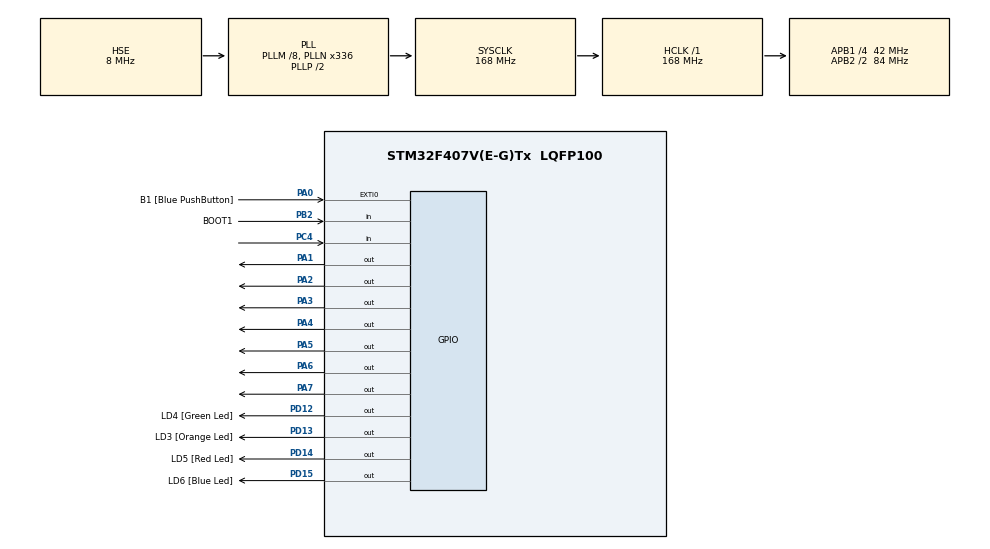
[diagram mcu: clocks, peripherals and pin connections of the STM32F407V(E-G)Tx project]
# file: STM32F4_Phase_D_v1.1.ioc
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Mcu.Family=STM32F4
Mcu.Name=STM32F407V(E-G)Tx
Mcu.Package=LQFP100
NVIC.PriorityGroup=NVIC_PRIORITYGROUP_0
NVIC.TIM6_DAC_IRQn=true\:0\:0\:false\:false\:true\:true\:true\:true
PA0-WKUP.GPIO_Label=B1 [Blue PushButton]
PA0-WKUP.GPIO_ModeDefaultEXTI=GPIO_MODE_EVT_RISING
PA0-WKUP.GPIO_PuPd=GPIO_NOPULL
PA0-WKUP.Signal=GPXTI0
PA1.Signal=GPIO_Output
PA13.Mode=Serial_Wire
PA13.Signal=SYS_JTMS-SWDIO
PA14.Mode=Serial_Wire
PA14.Signal=SYS_JTCK-SWCLK
PA2.Signal=GPIO_Output
PA3.Signal=GPIO_Output
PA4.Signal=GPIO_Output
PA5.Signal=GPIO_Output
PA6.Signal=GPIO_Output
PA7.Signal=GPIO_Output
PB2.GPIO_Label=BOOT1
PB2.GPIO_Mode=GPIO_MODE_INPUT
PB2.GPIO_PuPd=GPIO_NOPULL
PB2.Signal=GPIO_Input
PC14-OSC32_IN.GPIO_Label=PC14-OSC32_IN
PC14-OSC32_IN.Mode=LSE-External-Oscillator
PC14-OSC32_IN.Signal=RCC_OSC32_IN
PC15-OSC32_OUT.GPIO_Label=PC15-OSC32_OUT
PC15-OSC32_OUT.Mode=LSE-External-Oscillator
PC15-OSC32_OUT.Signal=RCC_OSC32_OUT
PC4.Signal=GPIO_Input
PD12.GPIO_Label=LD4 [Green Led]
PD12.GPIO_PuPd=GPIO_NOPULL
PD12.GPIO_Speed=GPIO_SPEED_FREQ_LOW
PD12.Signal=GPIO_Output
PD13.GPIO_Label=LD3 [Orange Led]
PD13.GPIO_PuPd=GPIO_NOPULL
PD13.GPIO_Speed=GPIO_SPEED_FREQ_LOW
PD13.Signal=GPIO_Output
PD14.GPIO_Label=LD5 [Red Led]
PD14.GPIO_PuPd=GPIO_NOPULL
PD14.GPIO_Speed=GPIO_SPEED_FREQ_LOW
PD14.Signal=GPIO_Output
PD15.GPIO_Label=LD6 [Blue Led]
PD15.GPIO_PuPd=GPIO_NOPULL
PD15.GPIO_Speed=GPIO_SPEED_FREQ_LOW
PD15.Signal=GPIO_Output
PH0-OSC_IN.GPIO_Label=PH0-OSC_IN
PH0-OSC_IN.Mode=HSE-External-Oscillator
PH0-OSC_IN.Signal=RCC_OSC_IN
PH1-OSC_OUT.GPIO_Label=PH1-OSC_OUT
PH1-OSC_OUT.Mode=HSE-External-Oscillator
PH1-OSC_OUT.Signal=RCC_OSC_OUT
ProjectManager.HeapSize=0x200
ProjectManager.StackSize=0x400
ProjectManager.TargetToolchain=STM32CubeIDE
RCC.48MHZClocksFreq_Value=48000000
RCC.AHBFreq_Value=168000000
RCC.APB1CLKDivider=RCC_HCLK_DIV4
RCC.APB1Freq_Value=42000000
RCC.APB1TimFreq_Value=84000000
RCC.APB2CLKDivider=RCC_HCLK_DIV2
RCC.APB2Freq_Value=84000000
RCC.APB2TimFreq_Value=168000000
RCC.CortexFreq_Value=168000000
RCC.HCLKFreq_Value=168000000
RCC.HSE_VALUE=8000000
RCC.HSI_VALUE=16000000
RCC.PLLM=8
RCC.PLLN=336
RCC.PLLQ=7
RCC.PLLSourceVirtual=RCC_PLLSOURCE_HSE
RCC.SYSCLKFreq_VALUE=168000000
RCC.SYSCLKSource=RCC_SYSCLKSOURCE_PLLCLK
RCC.VCOOutputFreq_Value=336000000
TIM1.Period=0xfff-1
TIM1.Prescaler=84-1
TIM2.Period=0xfff-1
TIM2.Prescaler=84-1
TIM6.Period=20000
TIM6.Prescaler=2100
VP_TIM1_VS_ClockSourceINT.Mode=Internal
VP_TIM2_VS_ClockSourceINT.Mode=Internal
VP_TIM6_VS_ClockSourceINT.Mode=Enable_Timer
board=STM32F407G-DISC1

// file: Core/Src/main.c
/* USER CODE BEGIN Header */
/**
  ******************************************************************************
  * @file           : main.c
  * @brief          : Main program body
  ******************************************************************************
  * @attention
  *
  * Copyright (c) 2023 STMicroelectronics.
  * All rights reserved.
  *
  * This software is licensed under terms that can be found in the LICENSE file
  * in the root directory of this software component.
  * If no LICENSE file comes with this software, it is provided AS-IS.
  *
  ******************************************************************************
  */
/* USER CODE END Header */
#include "main.h"

/* USER CODE BEGIN Includes */
#include "LCD1602.h" // LCD Display Library
#include "DHT11.h" // Temperature Sesnor Library
#include "stdio.h"
#include "string.h"
/* USER CODE END Includes */

/* USER CODE BEGIN PM */
#define DHT11_PORT GPIOC // Defining temperature sensor port
#define DHT11_PIN GPIO_PIN_4 // Defining temperature sensor pin
/* USER CODE END PM */

TIM_HandleTypeDef htim1;
TIM_HandleTypeDef htim2;
TIM_HandleTypeDef htim6;

void SystemClock_Config(void);
static void MX_GPIO_Init(void);
static void MX_TIM1_Init(void);
static void MX_TIM2_Init(void);
static void MX_TIM6_Init(void);

/* USER CODE BEGIN 0 */
volatile unsigned char gIsrFlag1 = 0; // interrupt flag for reading the temperature sensor

int gLcdRow=0; // current row for the lcd display cursor
int gLcdCol=0; // current column for the lcd display cursor

uint8_t gTFI = 0; // Fahrenheit integral
uint8_t gTFD = 0; // Fahrenheit decimal
uint8_t gRHI, gRHD, gTCI, gTCD, gSUM; // check sum values

float gRH = 0; // humidity value
float gCelsius = 0; // temperature value (celsius)
float gFahrenheit = 0; // temperature value (Fahrenheit)

char gTempStr[20] = ""; // character array that stores the current temperature value
char gHumidStr[20] = ""; // character array that stores the current humidity value

/* USER CODE END 0 */

int main(void)
{

  /* MCU Configuration--------------------------------------------------------*/

  /* Reset of all peripherals, Initializes the Flash interface and the Systick. */
  HAL_Init();

  /* Configure the system clock */
  SystemClock_Config();

  /* Initialize all configured peripherals */
  MX_GPIO_Init();
  MX_TIM1_Init();
  MX_TIM2_Init();
  MX_TIM6_Init();
  /* USER CODE BEGIN 2 */
  HAL_TIM_Base_Start(&htim1); // Micro delay timer for LCD display
  HAL_TIM_Base_Start(&htim2); // Micro delay timer for temperature sensor
  HAL_TIM_Base_Start_IT(&htim6); // Interrupt timer for reading the temperature sensor
	lcd_init(); // initialize the lcd
	lcd_put_cur(0, 0); // places the cursor on the lcd at position (0, 0)
	lcd_send_string("Initializing..."); // writes the string to the lcd display
	HAL_Delay(3000); // delay for 3 seconds
	lcd_clear(); // clear the display

  /* USER CODE END 2 */

  /* Infinite loop */
  while (1)
  {

    /* USER CODE BEGIN 3 */
	  if(gIsrFlag1 == 1){ // occurs on timer6 interrupt
		  gIsrFlag1 = 0; // reset the flag
		  if(DHT11_Start()) // verify communication with the sensor
		  {
			gRHI = DHT11_Read(); // Relative humidity integral
			gRHD = DHT11_Read(); // Relative humidity decimal
			gTCI = DHT11_Read(); // Celsius integral
			gTCD = DHT11_Read(); // Celsius decimal
			gSUM = DHT11_Read(); // Check gSUM
			if (gRHI + gRHD + gTCI + gTCD == gSUM) // check sum
			{
			  // Can use gRHI and gTCI for any purposes if whole number only needed
			  gCelsius = (float)gTCI + (float)(gTCD/10.0);
			  gFahrenheit = gCelsius * 9/5 + 32;
			  gRH = (float)gRHI + (float)(gRHD/10.0);
			  // Can use gCelsius, gFahrenheit and gRH for any purposes
			  gTFI = gFahrenheit;  // Fahrenheit integral
			  gTFD = gFahrenheit*10-gTFI*10; // Fahrenheit decimal
			}
		  }
	  }

	  sprintf(gTempStr, "%f", gFahrenheit); // change the temperature string to the current reading`
	  sprintf(gHumidStr, "%f", gRH); // change the humidity string to the current reading`
	  lcd_clear(); // clear the display
	  lcd_put_cur(0, 0); // places the cursor on the lcd at position (0, 0)
	  lcd_send_string("T: "); // writes the string to the lcd display
	  lcd_send_string(gTempStr); // writes the current temperature string to the lcd display
	  lcd_put_cur(1, 0); // places the cursor on the next row
	  lcd_send_string("H: "); // writes the string to the lcd display
	  lcd_send_string(gHumidStr); // writes the current humidity string to the lcd display
	  HAL_Delay(1000); // delay for 1 second
  }
  /* USER CODE END 3 */
}

void SystemClock_Config(void)
{
  RCC_OscInitTypeDef RCC_OscInitStruct = {0};
  RCC_ClkInitTypeDef RCC_ClkInitStruct = {0};

  /** Configure the main internal regulator output voltage
  */
  __HAL_RCC_PWR_CLK_ENABLE();
  __HAL_PWR_VOLTAGESCALING_CONFIG(PWR_REGULATOR_VOLTAGE_SCALE1);

  /** Initializes the RCC Oscillators according to the specified parameters
  * in the RCC_OscInitTypeDef structure.
  */
  RCC_OscInitStruct.OscillatorType = RCC_OSCILLATORTYPE_HSE;
  RCC_OscInitStruct.HSEState = RCC_HSE_ON;
  RCC_OscInitStruct.PLL.PLLState = RCC_PLL_ON;
  RCC_OscInitStruct.PLL.PLLSource = RCC_PLLSOURCE_HSE;
  RCC_OscInitStruct.PLL.PLLM = 8;
  RCC_OscInitStruct.PLL.PLLN = 336;
  RCC_OscInitStruct.PLL.PLLP = RCC_PLLP_DIV2;
  RCC_OscInitStruct.PLL.PLLQ = 7;
  if (HAL_RCC_OscConfig(&RCC_OscInitStruct) != HAL_OK)
  {
    Error_Handler();
  }

  /** Initializes the CPU, AHB and APB buses clocks
  */
  RCC_ClkInitStruct.ClockType = RCC_CLOCKTYPE_HCLK|RCC_CLOCKTYPE_SYSCLK
                              |RCC_CLOCKTYPE_PCLK1|RCC_CLOCKTYPE_PCLK2;
  RCC_ClkInitStruct.SYSCLKSource = RCC_SYSCLKSOURCE_PLLCLK;
  RCC_ClkInitStruct.AHBCLKDivider = RCC_SYSCLK_DIV1;
  RCC_ClkInitStruct.APB1CLKDivider = RCC_HCLK_DIV4;
  RCC_ClkInitStruct.APB2CLKDivider = RCC_HCLK_DIV2;

  if (HAL_RCC_ClockConfig(&RCC_ClkInitStruct, FLASH_LATENCY_5) != HAL_OK)
  {
    Error_Handler();
  }
}

static void MX_TIM1_Init(void)
{

  TIM_ClockConfigTypeDef sClockSourceConfig = {0};
  TIM_MasterConfigTypeDef sMasterConfig = {0};

  htim1.Instance = TIM1;
  htim1.Init.Prescaler = 84-1;
  htim1.Init.CounterMode = TIM_COUNTERMODE_UP;
  htim1.Init.Period = 0xfff-1;
  htim1.Init.ClockDivision = TIM_CLOCKDIVISION_DIV1;
  htim1.Init.RepetitionCounter = 0;
  htim1.Init.AutoReloadPreload = TIM_AUTORELOAD_PRELOAD_DISABLE;
  if (HAL_TIM_Base_Init(&htim1) != HAL_OK)
  {
    Error_Handler();
  }
  sClockSourceConfig.ClockSource = TIM_CLOCKSOURCE_INTERNAL;
  if (HAL_TIM_ConfigClockSource(&htim1, &sClockSourceConfig) != HAL_OK)
  {
    Error_Handler();
  }
  sMasterConfig.MasterOutputTrigger = TIM_TRGO_RESET;
  sMasterConfig.MasterSlaveMode = TIM_MASTERSLAVEMODE_DISABLE;
  if (HAL_TIMEx_MasterConfigSynchronization(&htim1, &sMasterConfig) != HAL_OK)
  {
    Error_Handler();
  }

}

static void MX_TIM2_Init(void)
{

  TIM_ClockConfigTypeDef sClockSourceConfig = {0};
  TIM_MasterConfigTypeDef sMasterConfig = {0};

  htim2.Instance = TIM2;
  htim2.Init.Prescaler = 84-1;
  htim2.Init.CounterMode = TIM_COUNTERMODE_UP;
  htim2.Init.Period = 0xfff-1;
  htim2.Init.ClockDivision = TIM_CLOCKDIVISION_DIV1;
  htim2.Init.AutoReloadPreload = TIM_AUTORELOAD_PRELOAD_DISABLE;
  if (HAL_TIM_Base_Init(&htim2) != HAL_OK)
  {
    Error_Handler();
  }
  sClockSourceConfig.ClockSource = TIM_CLOCKSOURCE_INTERNAL;
  if (HAL_TIM_ConfigClockSource(&htim2, &sClockSourceConfig) != HAL_OK)
  {
    Error_Handler();
  }
  sMasterConfig.MasterOutputTrigger = TIM_TRGO_RESET;
  sMasterConfig.MasterSlaveMode = TIM_MASTERSLAVEMODE_DISABLE;
  if (HAL_TIMEx_MasterConfigSynchronization(&htim2, &sMasterConfig) != HAL_OK)
  {
    Error_Handler();
  }

}

static void MX_TIM6_Init(void)
{

  TIM_MasterConfigTypeDef sMasterConfig = {0};

  htim6.Instance = TIM6;
  htim6.Init.Prescaler = 2100;
  htim6.Init.CounterMode = TIM_COUNTERMODE_UP;
  htim6.Init.Period = 20000;
  htim6.Init.AutoReloadPreload = TIM_AUTORELOAD_PRELOAD_DISABLE;
  if (HAL_TIM_Base_Init(&htim6) != HAL_OK)
  {
    Error_Handler();
  }
  sMasterConfig.MasterOutputTrigger = TIM_TRGO_RESET;
  sMasterConfig.MasterSlaveMode = TIM_MASTERSLAVEMODE_DISABLE;
  if (HAL_TIMEx_MasterConfigSynchronization(&htim6, &sMasterConfig) != HAL_OK)
  {
    Error_Handler();
  }

}

static void MX_GPIO_Init(void)
{
  GPIO_InitTypeDef GPIO_InitStruct = {0};

  /* GPIO Ports Clock Enable */
  __HAL_RCC_GPIOC_CLK_ENABLE();
  __HAL_RCC_GPIOH_CLK_ENABLE();
  __HAL_RCC_GPIOA_CLK_ENABLE();
  __HAL_RCC_GPIOB_CLK_ENABLE();
  __HAL_RCC_GPIOD_CLK_ENABLE();

  /*Configure GPIO pin Output Level */
  HAL_GPIO_WritePin(GPIOA, GPIO_PIN_1|GPIO_PIN_2|GPIO_PIN_3|GPIO_PIN_4
                          |GPIO_PIN_5|GPIO_PIN_6|GPIO_PIN_7, GPIO_PIN_RESET);

  /*Configure GPIO pin Output Level */
  HAL_GPIO_WritePin(GPIOD, LD4_Pin|LD3_Pin|LD5_Pin|LD6_Pin, GPIO_PIN_RESET);

  /*Configure GPIO pin : B1_Pin */
  GPIO_InitStruct.Pin = B1_Pin;
  GPIO_InitStruct.Mode = GPIO_MODE_EVT_RISING;
  GPIO_InitStruct.Pull = GPIO_NOPULL;
  HAL_GPIO_Init(B1_GPIO_Port, &GPIO_InitStruct);

  /*Configure GPIO pins : PA1 PA2 PA3 PA4
                           PA5 PA6 PA7 */
  GPIO_InitStruct.Pin = GPIO_PIN_1|GPIO_PIN_2|GPIO_PIN_3|GPIO_PIN_4
                          |GPIO_PIN_5|GPIO_PIN_6|GPIO_PIN_7;
  GPIO_InitStruct.Mode = GPIO_MODE_OUTPUT_PP;
  GPIO_InitStruct.Pull = GPIO_NOPULL;
  GPIO_InitStruct.Speed = GPIO_SPEED_FREQ_LOW;
  HAL_GPIO_Init(GPIOA, &GPIO_InitStruct);

  /*Configure GPIO pin : PC4 */
  GPIO_InitStruct.Pin = GPIO_PIN_4;
  GPIO_InitStruct.Mode = GPIO_MODE_INPUT;
  GPIO_InitStruct.Pull = GPIO_NOPULL;
  HAL_GPIO_Init(GPIOC, &GPIO_InitStruct);

  /*Configure GPIO pin : BOOT1_Pin */
  GPIO_InitStruct.Pin = BOOT1_Pin;
  GPIO_InitStruct.Mode = GPIO_MODE_INPUT;
  GPIO_InitStruct.Pull = GPIO_NOPULL;
  HAL_GPIO_Init(BOOT1_GPIO_Port, &GPIO_InitStruct);

  /*Configure GPIO pins : LD4_Pin LD3_Pin LD5_Pin LD6_Pin */
  GPIO_InitStruct.Pin = LD4_Pin|LD3_Pin|LD5_Pin|LD6_Pin;
  GPIO_InitStruct.Mode = GPIO_MODE_OUTPUT_PP;
  GPIO_InitStruct.Pull = GPIO_NOPULL;
  GPIO_InitStruct.Speed = GPIO_SPEED_FREQ_LOW;
  HAL_GPIO_Init(GPIOD, &GPIO_InitStruct);

}

/* USER CODE BEGIN 4 */
// Timer interrupt callback
void HAL_TIM_PeriodElapsedCallback(TIM_HandleTypeDef *htim){
	if(htim == &htim6){ // if interrupt for timer 6
		gIsrFlag1 = 1; // set the interrupt flag to 1
	}
}
/* USER CODE END 4 */

void Error_Handler(void)
{
  __disable_irq();
  while (1)
  {
  }
}
